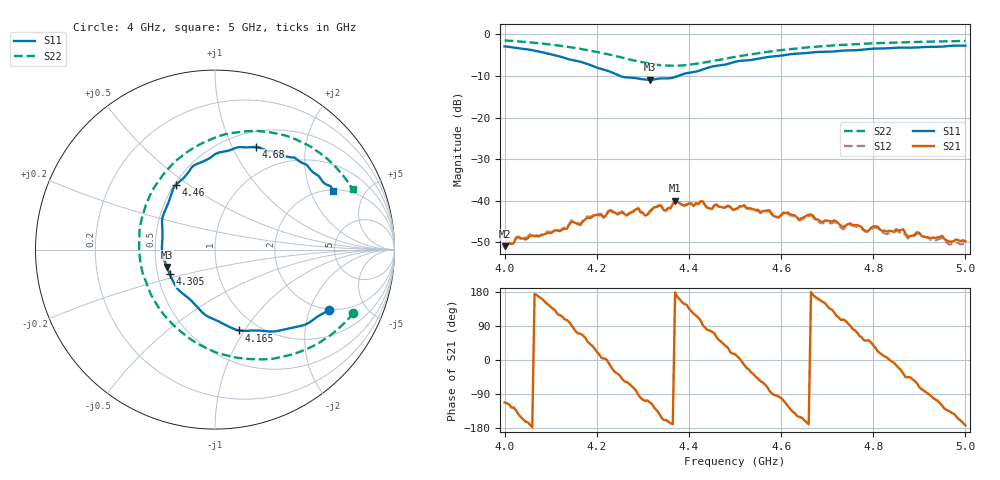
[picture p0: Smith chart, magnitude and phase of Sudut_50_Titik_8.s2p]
# Hz S RI R 50
! CMT, C1220, 16058040, 17.2.0/1
! Date: 15/08/2018 11:40:11
! Data: Format (Calibration Info)
! Freq  S11: Re/Im (F2)  S21: Re/Im (F2)  S12: Re/Im (F2)  S22: Re/Im (F2)
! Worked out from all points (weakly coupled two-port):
!   201 points, 4 GHz to 5 GHz, reference 50 ohm
!   highest |S21| = -39.99 dB at 4.37 GHz (marker M1); lowest = -50.9 dB at 4 GHz (marker M2)
!   lowest |S11| = -10.9 dB at 4.315 GHz (marker M3), VSWR 1.80, Z = 28.4 - j6.02 ohm
!   |S11| at or under -10 dB: 4.251 GHz to 4.376 GHz (124.9 MHz wide, 2.89 % of centre)
!   |S22| runs from -7.5 to -1.4 dB; largest |S21 - S12| = 0.00034
!   S11 on the Smith chart (normalised r, x): 4 GHz: 1.98, -2.75; 4.165 GHz: 0.81, -0.94; 4.305 GHz: 0.58, -0.17; 4.46 GHz: 0.51, +0.44; 4.68 GHz: 0.67, +1.24; 5 GHz: 2.04, +2.90
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4e9  0.6372 -0.3344  -0.00106 -0.00264  -0.00101 -0.00272  0.7704 -0.3536
4.03e9  0.5711 -0.3736  -0.00292 -0.00218  -0.0029 -0.00233  0.7115 -0.4182
4.12e9  0.2949 -0.4556  -0.00204 0.00379  -0.00223 0.0038  0.4531 -0.5764
4.145e9  0.2055 -0.4505  -0.000199 0.00558  -0.000404 0.0058  0.3592 -0.6
4.165e9  0.1314 -0.4502  0.00184 0.00481  0.00182 0.00495  0.28 -0.611
4.17e9  0.1155 -0.4454  0.00244 0.00511  0.00234 0.00533  0.2592 -0.6116
4.23e9  -0.0727 -0.3477  0.00732 -0.00211  0.00748 -0.00211  -0.00451 -0.5689
4.265e9  -0.1704 -0.2528  0.00348 -0.00565  0.00357 -0.00579  -0.1511 -0.4881
4.29e9  -0.2289 -0.186  -0.000264 -0.00807  -0.000254 -0.00825  -0.2461 -0.405
4.305e9  -0.2523 -0.1364  -0.00206 -0.00632  -0.00209 -0.00645  -0.2945 -0.3502
4.315e9  -0.2678 -0.0974  -0.00267 -0.00681  -0.00273 -0.00701  -0.3239 -0.3075
4.335e9  -0.2935 -0.0312  -0.00682 -0.00552  -0.00695 -0.00546  -0.3716 -0.2157
4.35e9  -0.2958 0.018  -0.00706 -0.00279  -0.00712 -0.00276  -0.3988 -0.1438
4.37e9  -0.2926 0.0947  -0.01 0.000283  -0.0101 0.000379  -0.4188 -0.0448
4.46e9  -0.2199 0.3583  0.0045 0.00779  0.00464 0.00766  -0.3262 0.3647
4.5e9  -0.1369 0.4478  0.00765 0.00208  0.00759 0.00198  -0.2227 0.4893
4.52e9  -0.1068 0.4744  0.00862 -0.00198  0.00843 -0.00214  -0.1656 0.5359
4.585e9  0.0369 0.5439  -0.000284 -0.00649  -0.000354 -0.00629  0.0277 0.6342
4.67e9  0.2139 0.5714  -0.00646 0.00105  -0.00618 0.00103  0.2613 0.6583
4.68e9  0.2292 0.5722  -0.00566 0.00185  -0.00537 0.00182  0.2861 0.6567
4.835e9  0.4833 0.4842  0.00437 7.93e-05  0.00405 0.000125  0.5886 0.5344
5e9  0.6553 0.3282  -0.00322 -0.000432  -0.00297 -0.000518  0.7671 0.335
